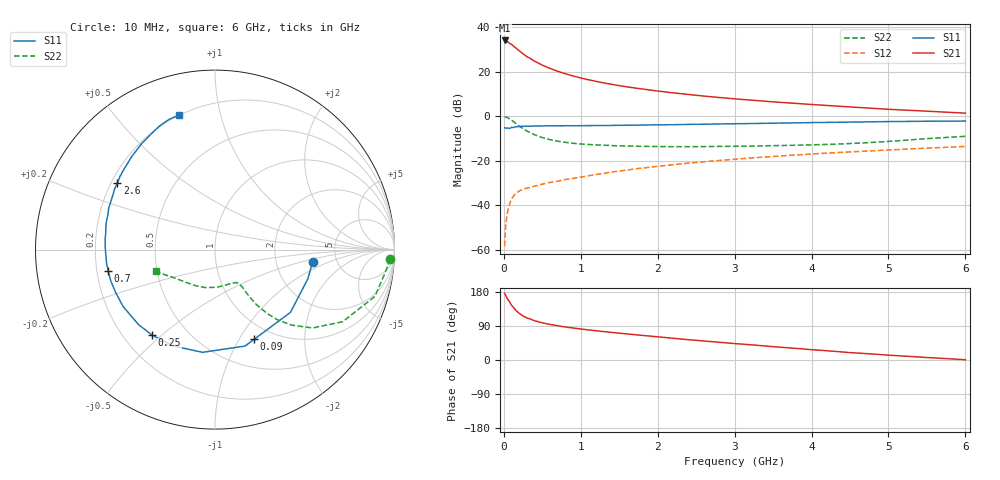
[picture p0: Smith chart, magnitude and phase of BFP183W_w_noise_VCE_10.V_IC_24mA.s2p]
! Infineon Technologies  Discrete & RF Semiconductors
! BFP183W
! VCE =  10. V,  IC =  24 mA
! Common Emitter S-Parameters:  Jan 2017
# GHz  S  MA  R  50
!  f  S11  S21  S12  S22
! GHz  MAG  ANG  MAG  ANG  MAG  ANG  MAG  ANG
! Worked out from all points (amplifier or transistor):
!   77 points, 10 MHz to 6 GHz, reference 50 ohm
!   highest |S21| = 34.0 dB at 10 MHz (marker M1)
!   |S21| within 3 dB of that: start of sweep to 142.3 MHz
!   unconditionally stable (mu >= 1): 1.134 GHz to 3.511 GHz
!   at 130 MHz: K = 0.25, MSG = 33.6 dB, |S12| = -35.8 dB
!   at 2.2 GHz: K = 1.06, MAG = 14.6 dB, |S12| = -21.8 dB
!   at 6 GHz: K = 0.86, MSG = 7.5 dB, |S12| = -13.6 dB
!   lowest NFmin = 1.27 dB at 450 MHz
!   S11 on the Smith chart (normalised r, x): 10 MHz: 3.30, -0.63; 90 MHz: 0.82, -1.16; 250 MHz: 0.32, -0.47; 700 MHz: 0.25, -0.09; 2.6 GHz: 0.22, +0.29; 6 GHz: 0.20, +0.75
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0.01  0.5484 -7.0  50.17 175.8  0.0012 82.1  0.9753 -3.1
0.02  0.5425 -17.4  49.1 171.4  0.0028 88.7  0.9619 -6.6
0.05  0.5467 -39.8  46.8 160.5  0.0073 73.4  0.9283 -16.3
0.09  0.5454 -66.4  41.76 148.0  0.0125 65.6  0.835 -26.6
0.1  0.5629 -72.7  40.86 144.4  0.0138 64.6  0.8165 -29.5
0.15  0.5765 -96.9  34.69 132.2  0.0181 55.6  0.6968 -38.8
0.2  0.5855 -113.6  29.32 123.0  0.0209 51.0  0.5993 -44.6
0.25  0.5914 -126.3  25.12 116.1  0.0229 48.3  0.5216 -48.4
0.3  0.5968 -135.4  21.77 111.0  0.0241 46.8  0.4618 -50.7
0.4  0.6023 -148.3  17.14 103.4  0.0267 47.2  0.3812 -53.1
0.5  0.6031 -157.0  13.97 98.1  0.0297 47.1  0.3301 -53.8
0.6  0.6064 -163.4  11.82 93.9  0.0325 49.0  0.2965 -54.0
0.7  0.6069 -168.7  10.19 90.4  0.0345 50.6  0.2736 -53.9
0.9  0.6088 -176.8  7.978 84.4  0.0401 54.2  0.2459 -54.2
1.1  0.613 176.9  6.577 79.5  0.0459 56.3  0.2313 -54.9
1.5  0.6228 167.0  4.847 70.8  0.0583 58.4  0.2151 -58.7
2.1  0.6402 154.5  3.502 59.3  0.0779 59.1  0.2067 -69.3
2.6  0.6587 145.7  2.826 50.1  0.0944 57.8  0.2073 -81.3
3.1  0.6781 137.8  2.373 41.9  0.111 55.9  0.2111 -93.8
4.1  0.72 123.8  1.784 25.8  0.1444 50.8  0.229 -119.7
5.1  0.7578 113.1  1.399 11.6  0.1772 45.0  0.2785 -145.8
6  0.7757 105.1  1.168 0.6  0.2084 39.1  0.3523 -160.1
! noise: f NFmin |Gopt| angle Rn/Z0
0.45  1.27  0.23  176  0.1
0.9  1.29  0.27  178  0.09
1.9  1.78  0.43  -159  0.09
2.4  2.01  0.47  -154  0.13
